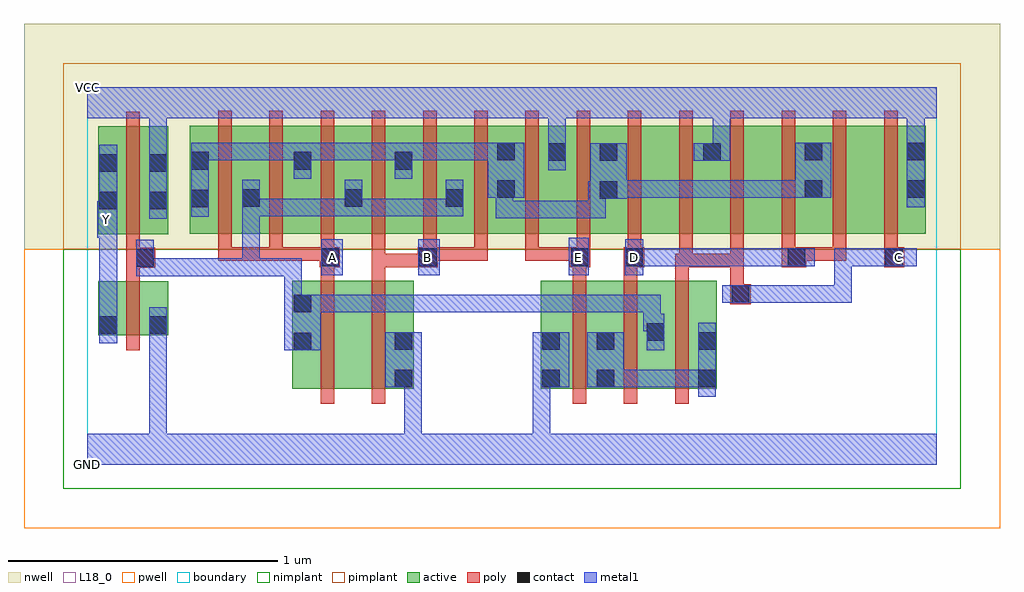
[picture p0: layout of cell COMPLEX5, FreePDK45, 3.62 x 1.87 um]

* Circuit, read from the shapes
.subckt COMPLEX5 A B C D E GND VCC Y
M1 GND n1 Y VSUBS nfet w=0.2u l=0.05u
M2 n2 A n1 VSUBS nfet w=0.4u l=0.05u
M3 GND B n2 VSUBS nfet w=0.4u l=0.05u
M4 n3 E GND VSUBS nfet w=0.4u l=0.05u
M5 n1 D n3 VSUBS nfet w=0.4u l=0.05u
M6 n3 C n1 VSUBS nfet w=0.4u l=0.05u
M7 VCC n1 Y n4 pfet w=0.4u l=0.05u
M8 n1 A n5 n4 pfet w=0.4u l=0.05u m=3
M9 n5 B n1 n4 pfet w=0.4u l=0.05u m=3
M10 VCC E n5 n4 pfet w=0.4u l=0.05u m=2
M11 n6 D n5 n4 pfet w=0.4u l=0.05u
M12 VCC C n6 n4 pfet w=0.4u l=0.05u
M13 n7 C VCC n4 pfet w=0.4u l=0.05u
M14 n5 D n7 n4 pfet w=0.4u l=0.05u
M15 n8 D n5 n4 pfet w=0.4u l=0.05u
M16 VCC C n8 n4 pfet w=0.4u l=0.05u
.ends

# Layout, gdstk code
import gdstk
lib = gdstk.Library(unit=1e-6, precision=1e-09)
def R(c, l, rs):  # rectangles x0, y0, x1, y1
    for r in rs: c.add(gdstk.rectangle(r[:2], r[2:], *l))
def A(c, l, x, y, w, h, nx, ny, dx, dy):  # array of equal rectangles
    R(c, l, [(x+i*dx, y+j*dy, x+i*dx+w, y+j*dy+h) for i in range(nx) for j in range(ny)])
active = (1, 0)
pwell = (2, 0)
nwell = (3, 0)
nimplant = (4, 0)
pimplant = (5, 0)
poly = (9, 0)
contact = (10, 0)
metal1 = (11, 0)
L18_0 = (18, 0)
boundary = (235, 0)

complex5 = lib.new_cell('COMPLEX5')
A(complex5, active, 0.38, 0.857, 0.265, 0.4, 3, 1, 0.19, 0)
A(complex5, active, 1.135, 0.857, 0.265, 0.4, 4, 1, 0.19, 0)
A(complex5, active, 1.135, 0.857, 0.075, 0.343, 3, 1, 0.38, 0)
R(complex5, active, [(0.76,0.282,0.985,0.682), (0.985,0.282,1.21,0.682), (1.135,0.282,1.21,0.562), (1.682,0.282,1.757,0.682), (1.682,0.282,1.96,0.682), (1.885,0.282,2.145,0.682), (1.885,0.282,1.96,0.597), (2.07,0.282,2.335,0.682), (2.26,0.282,2.335,0.682), (2.07,0.33,2.145,0.53), (0.76,0.332,0.835,0.682), (0.04,0.48,0.115,0.68), (0.04,0.48,0.3,0.68), (0.225,0.48,0.3,0.68), (0.04,0.855,0.3,1.255), (0.04,0.855,0.115,1.2), (0.225,0.855,0.3,1.255), (0.38,0.857,0.455,1.2), (0.57,0.857,0.645,1.07), (0.76,0.857,0.835,1.2), (0.95,0.857,1.21,1.257), (0.95,0.857,1.025,1.07), (1.325,0.857,1.4,1.07), (1.705,0.857,1.78,1.257), (1.895,0.857,2.125,1.257), (2.125,0.857,2.355,1.257), (2.28,0.857,2.355,1.257), (2.28,0.857,2.505,1.257), (2.505,0.857,2.73,1.257), (2.655,0.857,2.885,1.257), (2.655,0.857,2.73,1.2), (2.885,0.857,3.11,1.257), (3.035,0.857,3.11,1.257)])
R(complex5, pwell, [(-0.235,-0.235,3.385,0.8)])
R(complex5, nwell, [(-0.235,0.8,3.385,1.635)])
R(complex5, nimplant, [(-0.09,-0.09,3.24,0.8)])
R(complex5, pimplant, [(-0.09,0.8,3.24,1.49)])
A(complex5, poly, 1.8, 0.227, 0.05, 0.51, 3, 1, 0.19, 0)
A(complex5, poly, 1.8, 0.687, 0.05, 0.095, 3, 1, 0.19, 0)
A(complex5, poly, 0.485, 0.757, 0.05, 0.095, 3, 1, 0.19, 0)
A(complex5, poly, 1.245, 0.757, 0.05, 0.095, 5, 1, 0.19, 0)
A(complex5, poly, 2.575, 0.757, 0.05, 0.095, 3, 1, 0.19, 0)
A(complex5, poly, 0.485, 0.802, 0.05, 0.51, 14, 1, 0.19, 0)
R(complex5, poly, [(0.865,0.227,0.915,0.737), (1.055,0.227,1.105,0.737), (0.145,0.425,0.195,0.735), (2.385,0.595,2.46,0.67), (2.385,0.62,2.435,0.782), (0.145,0.685,0.195,0.78), (0.865,0.687,0.915,0.782), (1.055,0.687,1.105,0.782), (0.145,0.73,0.252,0.805), (0.862,0.732,0.937,0.807), (1.055,0.732,1.105,0.782), (1.055,0.732,1.105,0.782), (1.055,0.732,1.105,0.782), (1.055,0.732,1.105,0.852), (1.055,0.732,1.275,0.782), (1.225,0.732,1.3,0.807), (1.79,0.732,1.865,0.807), (1.99,0.732,2.065,0.807), (2.18,0.732,2.245,0.782), (2.195,0.732,2.245,0.782), (2.195,0.732,2.245,0.782), (2.195,0.732,2.245,0.852), (2.195,0.732,2.435,0.782), (2.385,0.732,2.435,0.782), (2.385,0.732,2.435,0.782), (2.385,0.732,2.435,0.782), (2.385,0.732,2.435,0.852), (2.575,0.732,2.667,0.807), (2.955,0.732,3.03,0.807), (0.145,0.755,0.195,0.85), (0.485,0.757,0.535,0.807), (0.485,0.757,0.535,0.807), (0.485,0.757,0.535,0.807), (0.485,0.757,0.725,0.807), (0.675,0.757,0.725,0.807), (0.675,0.757,0.912,0.807), (0.862,0.757,0.912,0.807), (0.862,0.757,0.912,0.807), (1.25,0.757,1.485,0.807), (1.435,0.757,1.485,0.807), (1.435,0.757,1.485,0.807), (1.435,0.757,1.485,0.807), (1.625,0.757,1.675,0.807), (1.625,0.757,1.84,0.807), (1.79,0.757,1.84,0.807), (1.79,0.757,1.84,0.807), (2.617,0.757,2.815,0.807), (2.765,0.757,2.815,0.807), (2.765,0.757,2.815,0.807), (2.765,0.757,2.815,0.807), (0.145,0.8,0.195,1.31)])
R(complex5, contact, [(1.14,0.287,1.205,0.352), (1.687,0.287,1.752,0.352), (1.89,0.287,1.955,0.352), (2.265,0.287,2.33,0.352), (0.765,0.425,0.83,0.49), (1.14,0.427,1.205,0.492), (1.687,0.427,1.752,0.492), (1.89,0.427,1.955,0.492), (2.265,0.427,2.33,0.492), (2.075,0.46,2.14,0.525), (0.045,0.485,0.11,0.55), (0.23,0.485,0.295,0.55), (0.765,0.565,0.83,0.63), (2.39,0.6,2.455,0.665), (0.182,0.735,0.247,0.8), (0.867,0.737,0.932,0.802), (1.23,0.737,1.295,0.802), (1.795,0.737,1.86,0.802), (1.995,0.737,2.06,0.802), (2.597,0.737,2.662,0.802), (2.96,0.737,3.025,0.802), (0.045,0.947,0.11,1.012), (0.23,0.947,0.295,1.012), (0.385,0.955,0.45,1.02), (0.575,0.957,0.64,1.022), (0.955,0.957,1.02,1.022), (1.33,0.957,1.395,1.022), (1.9,0.987,1.965,1.052), (1.52,0.99,1.585,1.055), (2.66,0.99,2.725,1.055), (3.04,0.99,3.105,1.055), (0.045,1.087,0.11,1.152), (0.23,1.087,0.295,1.152), (0.385,1.095,0.45,1.16), (0.765,1.095,0.83,1.16), (1.14,1.095,1.205,1.16), (1.71,1.127,1.775,1.192), (1.9,1.127,1.965,1.192), (2.285,1.127,2.35,1.192), (1.52,1.13,1.585,1.195), (2.66,1.13,2.725,1.195), (3.04,1.13,3.105,1.195)])
R(complex5, metal1, [(0,0,3.15,0.115), (0.23,0.05,0.295,0.115), (0.23,0.05,0.295,0.115), (0.23,0.05,0.295,0.115), (0.23,0.05,0.295,0.115), (0.23,0.05,0.295,0.115), (0.23,0.05,0.295,0.115), (0.23,0.05,0.295,0.115), (0.23,0.05,0.295,0.115), (0.23,0.05,0.295,0.515), (1.175,0.05,1.24,0.115), (1.175,0.05,1.24,0.115), (1.175,0.05,1.24,0.115), (1.175,0.05,1.24,0.115), (1.175,0.05,1.24,0.352), (1.652,0.05,1.717,0.115), (1.652,0.05,1.717,0.115), (1.652,0.05,1.717,0.352), (2.265,0.252,2.33,0.527), (1.105,0.287,1.24,0.492), (1.652,0.287,1.717,0.352), (1.652,0.287,1.717,0.352), (1.652,0.287,1.787,0.492), (1.855,0.287,1.99,0.492), (1.925,0.287,2.127,0.352), (2.062,0.287,2.127,0.352), (2.062,0.287,2.137,0.352), (2.072,0.287,2.137,0.352), (2.072,0.287,2.265,0.352), (2.2,0.287,2.265,0.352), (2.2,0.287,2.33,0.352), (0.73,0.425,0.865,0.63), (2.075,0.425,2.14,0.56), (0.045,0.45,0.11,0.585), (0.23,0.45,0.295,0.585), (2.062,0.495,2.14,0.56), (2.062,0.495,2.127,0.63), (0.045,0.52,0.11,0.907), (0.73,0.565,0.795,0.765), (0.8,0.565,0.865,0.63), (0.8,0.565,0.865,0.63), (0.8,0.565,1.032,0.63), (0.967,0.565,1.032,0.63), (0.967,0.565,1.032,0.63), (0.967,0.565,1.032,0.63), (0.967,0.565,1.257,0.63), (1.192,0.565,1.257,0.63), (1.192,0.565,1.257,0.63), (1.192,0.565,1.257,0.63), (1.192,0.565,1.395,0.63), (1.33,0.565,1.395,0.63), (1.33,0.565,1.532,0.63), (1.467,0.565,1.532,0.63), (1.467,0.565,1.532,0.63), (1.467,0.565,1.532,0.63), (1.467,0.565,1.712,0.63), (1.647,0.565,1.712,0.63), (1.647,0.565,1.782,0.63), (1.717,0.565,1.782,0.63), (1.717,0.565,1.922,0.63), (1.857,0.565,1.922,0.63), (1.857,0.565,1.922,0.63), (1.857,0.565,1.922,0.63), (1.857,0.565,2.127,0.63), (2.355,0.6,2.49,0.665), (2.425,0.6,2.54,0.665), (2.475,0.6,2.54,0.665), (2.475,0.6,2.54,0.665), (2.475,0.6,2.54,0.665), (2.475,0.6,2.715,0.665), (2.65,0.6,2.715,0.665), (2.65,0.6,2.835,0.665), (2.77,0.6,2.835,0.665), (2.77,0.6,2.835,0.802), (0.182,0.7,0.247,0.765), (0.182,0.7,0.247,0.765), (0.182,0.7,0.247,0.835), (0.182,0.7,0.502,0.765), (0.437,0.7,0.502,0.765), (0.437,0.7,0.502,0.765), (0.437,0.7,0.502,0.765), (0.437,0.7,0.64,0.765), (0.575,0.7,0.64,0.765), (0.575,0.7,0.64,0.765), (0.575,0.7,0.64,0.765), (0.575,0.7,0.795,0.765), (0.575,0.7,0.64,0.987), (0.73,0.7,0.795,0.765), (0.867,0.702,0.947,0.837), (1.227,0.702,1.307,0.837), (1.785,0.702,1.86,0.842), (1.995,0.702,2.062,0.837), (1.997,0.737,2.137,0.802), (2.072,0.737,2.137,0.802), (2.072,0.737,2.265,0.802), (2.2,0.737,2.265,0.802), (2.2,0.737,2.402,0.802), (2.337,0.737,2.402,0.802), (2.337,0.737,2.402,0.802), (2.337,0.737,2.402,0.802), (2.337,0.737,2.552,0.802), (2.487,0.737,2.552,0.802), (2.487,0.737,2.627,0.802), (2.562,0.737,2.697,0.802), (2.77,0.737,2.835,0.802), (2.77,0.737,2.852,0.802), (2.787,0.737,2.97,0.802), (2.787,0.737,2.852,0.802), (2.905,0.737,2.99,0.802), (2.905,0.737,2.97,0.802), (2.925,0.737,3.077,0.802), (0.037,0.842,0.11,0.977), (0.045,0.912,0.11,1.187), (0.045,0.912,0.11,0.977), (0.23,0.912,0.295,1.187), (1.515,0.915,1.58,0.98), (1.515,0.915,1.687,0.98), (1.515,0.915,1.58,1.055), (1.622,0.915,1.687,0.98), (1.622,0.915,1.782,0.98), (1.717,0.915,1.782,0.98), (1.717,0.915,1.922,0.98), (1.857,0.915,1.922,1.052), (0.385,0.92,0.45,1.195), (0.575,0.922,0.64,0.987), (0.575,0.922,0.64,0.987), (0.575,0.922,0.64,1.057), (0.575,0.922,0.865,0.987), (0.8,0.922,0.865,0.987), (0.8,0.922,0.865,0.987), (0.8,0.922,0.865,0.987), (0.8,0.922,1.02,0.987), (0.955,0.922,1.02,0.987), (0.955,0.922,1.02,0.987), (0.955,0.922,1.02,1.057), (0.955,0.922,1.257,0.987), (1.192,0.922,1.257,0.987), (1.192,0.922,1.395,0.987), (1.33,0.922,1.395,0.987), (1.33,0.922,1.395,0.987), (1.33,0.922,1.395,1.057), (3.04,0.955,3.105,1.23), (1.857,0.987,1.93,1.052), (1.865,0.987,2,1.192), (1.485,0.99,1.62,1.195), (1.935,0.99,2.127,1.055), (2.062,0.99,2.127,1.055), (2.062,0.99,2.137,1.055), (2.072,0.99,2.137,1.055), (2.072,0.99,2.265,1.055), (2.2,0.99,2.265,1.055), (2.2,0.99,2.402,1.055), (2.337,0.99,2.402,1.055), (2.337,0.99,2.402,1.055), (2.337,0.99,2.402,1.055), (2.337,0.99,2.54,1.055), (2.475,0.99,2.54,1.055), (2.475,0.99,2.69,1.055), (2.625,0.99,2.69,1.055), (2.625,0.99,2.69,1.055), (2.625,0.99,2.76,1.195), (0.765,1.06,0.83,1.195), (1.14,1.06,1.205,1.195), (1.71,1.092,1.775,1.227), (0.23,1.122,0.295,1.35), (2.25,1.127,2.385,1.192), (2.32,1.127,2.385,1.35), (0.385,1.13,0.45,1.195), (0.385,1.13,0.45,1.195), (0.385,1.13,0.64,1.195), (0.575,1.13,0.64,1.195), (0.575,1.13,0.64,1.195), (0.575,1.13,0.64,1.195), (0.575,1.13,0.83,1.195), (0.765,1.13,0.83,1.195), (0.765,1.13,0.83,1.195), (0.765,1.13,1.002,1.195), (0.937,1.13,1.002,1.195), (0.937,1.13,1.002,1.195), (0.937,1.13,1.002,1.195), (0.937,1.13,1.205,1.195), (1.14,1.13,1.395,1.195), (1.33,1.13,1.395,1.195), (1.33,1.13,1.395,1.195), (1.33,1.13,1.395,1.195), (1.33,1.13,1.55,1.195), (1.485,1.13,1.55,1.195), (1.485,1.13,1.55,1.195), (1.71,1.162,1.775,1.35), (3.04,1.165,3.105,1.35), (0,1.285,3.15,1.4)])
R(complex5, L18_0, [(0,0,3.15,0.115), (0.23,0.05,0.295,0.115), (0.23,0.05,0.295,0.115), (0.23,0.05,0.295,0.115), (0.23,0.05,0.295,0.115), (0.23,0.05,0.295,0.115), (0.23,0.05,0.295,0.115), (0.23,0.05,0.295,0.115), (0.23,0.05,0.295,0.115), (0.23,0.05,0.295,0.515), (1.175,0.05,1.24,0.115), (1.175,0.05,1.24,0.115), (1.175,0.05,1.24,0.115), (1.175,0.05,1.24,0.115), (1.175,0.05,1.24,0.352), (1.652,0.05,1.717,0.115), (1.652,0.05,1.717,0.115), (1.652,0.05,1.717,0.352), (1.105,0.287,1.24,0.492), (1.652,0.287,1.717,0.352), (1.652,0.287,1.717,0.352), (1.652,0.287,1.787,0.492), (0.045,0.45,0.11,0.585), (0.23,0.45,0.295,0.585), (0.045,0.52,0.11,0.907), (2.355,0.6,2.49,0.665), (2.425,0.6,2.54,0.665), (2.475,0.6,2.54,0.665), (2.475,0.6,2.54,0.665), (2.475,0.6,2.54,0.665), (2.475,0.6,2.715,0.665), (2.65,0.6,2.715,0.665), (2.65,0.6,2.835,0.665), (2.77,0.6,2.835,0.665), (2.77,0.6,2.835,0.802), (0.867,0.702,0.947,0.837), (1.227,0.702,1.307,0.837), (1.785,0.702,1.86,0.842), (1.995,0.702,2.062,0.837), (0.877,0.737,0.942,0.802), (1.227,0.737,1.292,0.802), (1.787,0.737,1.852,0.802), (1.997,0.737,2.062,0.802), (1.997,0.737,2.137,0.802), (2.072,0.737,2.137,0.802), (2.072,0.737,2.265,0.802), (2.2,0.737,2.265,0.802), (2.2,0.737,2.402,0.802), (2.337,0.737,2.402,0.802), (2.337,0.737,2.402,0.802), (2.337,0.737,2.402,0.802), (2.337,0.737,2.552,0.802), (2.487,0.737,2.552,0.802), (2.487,0.737,2.627,0.802), (2.562,0.737,2.697,0.802), (2.77,0.737,2.835,0.802), (2.77,0.737,2.852,0.802), (2.787,0.737,2.852,0.802), (2.787,0.737,2.97,0.802), (2.905,0.737,2.97,0.802), (2.905,0.737,2.99,0.802), (2.925,0.737,3.077,0.802), (2.977,0.737,3.042,0.802), (0.037,0.842,0.11,0.977), (0.037,0.877,0.102,0.942), (0.045,0.912,0.11,1.187), (0.045,0.912,0.11,0.977), (0.23,0.912,0.295,1.187), (3.04,0.955,3.105,1.23), (1.71,1.092,1.775,1.227), (0.23,1.122,0.295,1.35), (2.25,1.127,2.385,1.192), (2.32,1.127,2.385,1.35), (1.71,1.162,1.775,1.35), (3.04,1.165,3.105,1.35), (0,1.285,3.15,1.4)])
R(complex5, boundary, [(0,0,3.15,1.4)])
complex5.add(gdstk.Label('A', (0.91,0.77), layer=11, texttype=0))
complex5.add(gdstk.Label('B', (1.26,0.77), layer=11, texttype=0))
complex5.add(gdstk.Label('C', (3.01,0.77), layer=11, texttype=0))
complex5.add(gdstk.Label('D', (2.03,0.77), layer=11, texttype=0))
complex5.add(gdstk.Label('E', (1.82,0.77), layer=11, texttype=0))
complex5.add(gdstk.Label('Y', (0.07,0.91), layer=11, texttype=0))
complex5.add(gdstk.Label('VCC', (0,1.4), layer=11, texttype=0))
complex5.add(gdstk.Label('GND', (0,0), layer=11, texttype=0))

lib.write_gds('COMPLEX5.gds')
